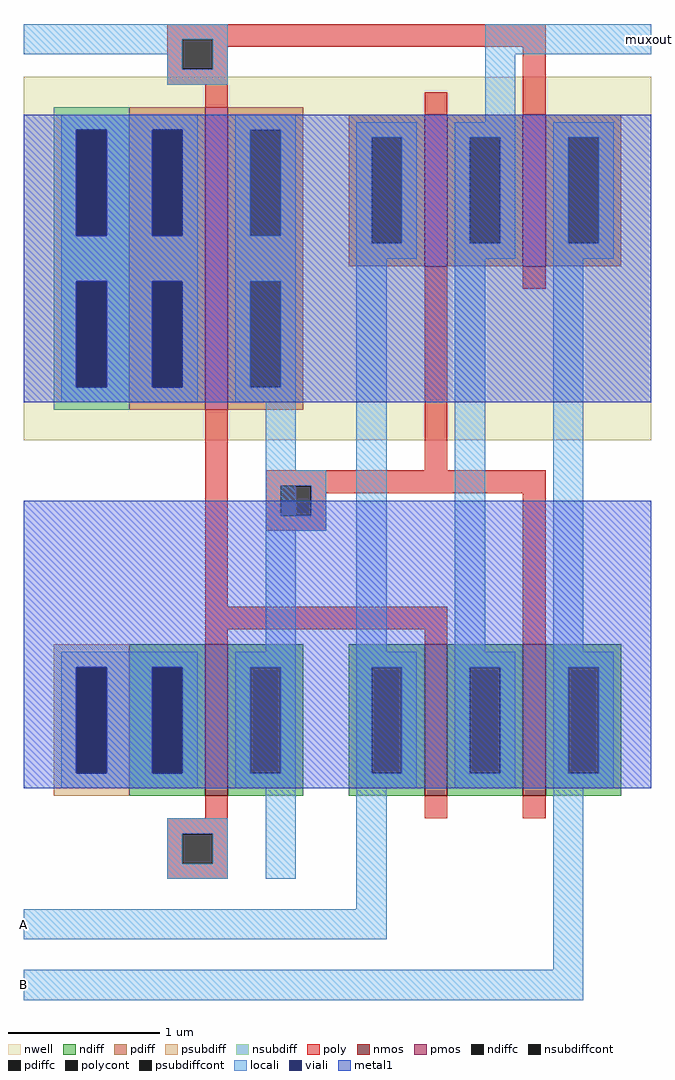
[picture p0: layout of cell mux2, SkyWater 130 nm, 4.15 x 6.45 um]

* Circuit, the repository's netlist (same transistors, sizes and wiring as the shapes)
**.subckt mux2 Y B A S
*.opin Y
*.ipin B
*.ipin A
*.ipin S
XM1 Y net1 A VDD sky130_fd_pr__pfet_01v8 L=0.15 W=1 nf=1 ad='int((nf+1)/2) * W/nf * 0.29' as='int((nf+2)/2) * W/nf * 0.29'
+ pd='2*int((nf+1)/2) * (W/nf + 0.29)' ps='2*int((nf+2)/2) * (W/nf + 0.29)' nrd='0.29 / W' nrs='0.29 / W'
+ sa=0 sb=0 sd=0 mult=1 m=1 
XM2 Y S B VDD sky130_fd_pr__pfet_01v8 L=0.15 W=1 nf=1 ad='int((nf+1)/2) * W/nf * 0.29' as='int((nf+2)/2) * W/nf * 0.29'
+ pd='2*int((nf+1)/2) * (W/nf + 0.29)' ps='2*int((nf+2)/2) * (W/nf + 0.29)' nrd='0.29 / W' nrs='0.29 / W'
+ sa=0 sb=0 sd=0 mult=1 m=1 
XM3 Y net1 B GND sky130_fd_pr__nfet_01v8 L=0.15 W=1 nf=1 ad='int((nf+1)/2) * W/nf * 0.29' as='int((nf+2)/2) * W/nf * 0.29'
+ pd='2*int((nf+1)/2) * (W/nf + 0.29)' ps='2*int((nf+2)/2) * (W/nf + 0.29)' nrd='0.29 / W' nrs='0.29 / W'
+ sa=0 sb=0 sd=0 mult=1 m=1 
XM4 Y S A GND sky130_fd_pr__nfet_01v8 L=0.15 W=1 nf=1 ad='int((nf+1)/2) * W/nf * 0.29' as='int((nf+2)/2) * W/nf * 0.29'
+ pd='2*int((nf+1)/2) * (W/nf + 0.29)' ps='2*int((nf+2)/2) * (W/nf + 0.29)' nrd='0.29 / W' nrs='0.29 / W'
+ sa=0 sb=0 sd=0 mult=1 m=1 
X1 S net1 VDD GND inverter
**.ends

* expanding   symbol:  /home/madvlsi/Documents/MADVLSI-Final_Project/schematic/inverter.sym # of
*+ pins=4

.subckt inverter  A Y VP VN
*.ipin A
*.iopin VP
*.iopin VN
*.opin Y
XM1 Y A VP VP sky130_fd_pr__pfet_01v8 L=0.15 W=2 nf=1 ad='int((nf+1)/2) * W/nf * 0.29' as='int((nf+2)/2) * W/nf * 0.29'
+ pd='2*int((nf+1)/2) * (W/nf + 0.29)' ps='2*int((nf+2)/2) * (W/nf + 0.29)' nrd='0.29 / W' nrs='0.29 / W'
+ sa=0 sb=0 sd=0 mult=1 m=1 
XM2 Y A VN VN sky130_fd_pr__nfet_01v8 L=0.15 W=1 nf=1 ad='int((nf+1)/2) * W/nf * 0.29' as='int((nf+2)/2) * W/nf * 0.29'
+ pd='2*int((nf+1)/2) * (W/nf + 0.29)' ps='2*int((nf+2)/2) * (W/nf + 0.29)' nrd='0.29 / W' nrs='0.29 / W'
+ sa=0 sb=0 sd=0 mult=1 m=1 
.ends

.GLOBAL VDD
.GLOBAL GND
** flattened .save nodes
.end

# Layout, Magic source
magic
tech sky130A
<< nwell >>
rect 205 470 415 490
rect 135 250 415 470
<< nmos >>
rect 265 15 280 115
rect 330 15 345 115
<< pmos >>
rect 265 365 280 465
rect 330 365 345 465
<< ndiff >>
rect 215 100 265 115
rect 215 30 230 100
rect 250 30 265 100
rect 215 15 265 30
rect 280 100 330 115
rect 280 30 295 100
rect 315 30 330 100
rect 280 15 330 30
rect 345 100 395 115
rect 345 30 360 100
rect 380 30 395 100
rect 345 15 395 30
<< pdiff >>
rect 215 450 265 465
rect 215 380 230 450
rect 250 380 265 450
rect 215 365 265 380
rect 280 450 330 465
rect 280 380 295 450
rect 315 380 330 450
rect 280 365 330 380
rect 345 450 395 465
rect 345 380 360 450
rect 380 380 395 450
rect 345 365 395 380
<< ndiffc >>
rect 230 30 250 100
rect 295 30 315 100
rect 360 30 380 100
<< pdiffc >>
rect 230 380 250 450
rect 295 380 315 450
rect 360 380 380 450
<< poly >>
rect 95 515 345 525
rect 95 495 105 515
rect 125 510 345 515
rect 125 495 135 510
rect 95 485 135 495
rect 265 465 280 480
rect 330 465 345 510
rect 265 230 280 365
rect 330 350 345 365
rect 160 220 345 230
rect 160 200 170 220
rect 190 215 345 220
rect 190 200 200 215
rect 160 190 200 200
rect 120 125 280 140
rect 265 115 280 125
rect 330 115 345 215
rect 265 0 280 15
rect 330 0 345 15
<< polycont >>
rect 105 495 125 515
rect 170 200 190 220
<< locali >>
rect 0 515 135 525
rect 0 505 105 515
rect 95 495 105 505
rect 125 495 135 515
rect 95 485 135 495
rect 305 505 415 525
rect 305 460 325 505
rect 220 450 260 460
rect 220 380 230 450
rect 250 380 260 450
rect 220 370 260 380
rect 285 450 325 460
rect 285 380 295 450
rect 315 380 325 450
rect 285 370 325 380
rect 350 450 390 460
rect 350 380 360 450
rect 380 380 390 450
rect 350 370 390 380
rect 160 220 200 230
rect 160 200 170 220
rect 190 200 200 220
rect 160 190 200 200
rect 220 110 240 370
rect 285 110 305 370
rect 350 110 370 370
rect 220 100 260 110
rect 220 30 230 100
rect 250 30 260 100
rect 220 20 260 30
rect 285 100 325 110
rect 285 30 295 100
rect 315 30 325 100
rect 285 20 325 30
rect 350 100 390 110
rect 350 30 360 100
rect 380 30 390 100
rect 350 20 390 30
rect 220 -60 240 20
rect 0 -80 240 -60
rect 350 -100 370 20
rect 0 -120 370 -100
<< metal1 >>
rect 205 275 415 465
rect 205 20 415 210
use inverter  inverter_0
transform 1 0 120 0 1 -120
box -120 80 85 610
<< labels >>
rlabel locali 0 -70 0 -70 7 A
rlabel locali 0 -110 0 -110 7 B
rlabel locali 415 515 415 515 3 muxout
<< end >>

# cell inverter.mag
magic
tech sky130A
<< nwell >>
rect -120 370 85 610
<< nmos >>
rect 0 135 15 235
<< pmos >>
rect 0 390 15 590
<< ndiff >>
rect -50 220 0 235
rect -50 150 -35 220
rect -15 150 0 220
rect -50 135 0 150
rect 15 220 65 235
rect 15 150 30 220
rect 50 150 65 220
rect 15 135 65 150
<< pdiff >>
rect -50 575 0 590
rect -50 505 -35 575
rect -15 505 0 575
rect -50 475 0 505
rect -50 405 -35 475
rect -15 405 0 475
rect -50 390 0 405
rect 15 575 65 590
rect 15 505 30 575
rect 50 505 65 575
rect 15 475 65 505
rect 15 405 30 475
rect 50 405 65 475
rect 15 390 65 405
<< ndiffc >>
rect -35 150 -15 220
rect 30 150 50 220
<< pdiffc >>
rect -35 505 -15 575
rect -35 405 -15 475
rect 30 505 50 575
rect 30 405 50 475
<< psubdiff >>
rect -100 220 -50 235
rect -100 150 -85 220
rect -65 150 -50 220
rect -100 135 -50 150
<< nsubdiff >>
rect -100 575 -50 590
rect -100 505 -85 575
rect -65 505 -50 575
rect -100 475 -50 505
rect -100 405 -85 475
rect -65 405 -50 475
rect -100 390 -50 405
<< psubdiffcont >>
rect -85 150 -65 220
<< nsubdiffcont >>
rect -85 505 -65 575
rect -85 405 -65 475
<< poly >>
rect 0 590 15 605
rect 0 235 15 390
rect 0 120 15 135
rect -25 110 15 120
rect -25 90 -15 110
rect 5 90 15 110
rect -25 80 15 90
<< polycont >>
rect -15 90 5 110
<< locali >>
rect -95 575 -5 585
rect -95 505 -85 575
rect -65 505 -35 575
rect -15 505 -5 575
rect -95 475 -5 505
rect -95 405 -85 475
rect -65 405 -35 475
rect -15 405 -5 475
rect -95 395 -5 405
rect 20 575 60 585
rect 20 505 30 575
rect 50 505 60 575
rect 20 475 60 505
rect 20 405 30 475
rect 50 405 60 475
rect 20 395 60 405
rect 40 230 60 395
rect -95 220 -5 230
rect -95 150 -85 220
rect -65 150 -35 220
rect -15 150 -5 220
rect -95 140 -5 150
rect 20 220 60 230
rect 20 150 30 220
rect 50 150 60 220
rect 20 140 60 150
rect -25 110 15 120
rect -25 90 -15 110
rect 5 90 15 110
rect -25 80 15 90
rect 40 80 60 140
<< viali >>
rect -85 505 -65 575
rect -35 505 -15 575
rect -85 405 -65 475
rect -35 405 -15 475
rect -85 150 -65 220
rect -35 150 -15 220
<< metal1 >>
rect -120 575 85 585
rect -120 505 -85 575
rect -65 505 -35 575
rect -15 505 85 575
rect -120 475 85 505
rect -120 405 -85 475
rect -65 405 -35 475
rect -15 405 85 475
rect -120 395 85 405
rect -120 220 85 330
rect -120 150 -85 220
rect -65 150 -35 220
rect -15 150 85 220
rect -120 140 85 150
<< labels >>
rlabel metal1 -120 235 -120 235 7 VN
port 4 w
rlabel locali -25 100 -25 100 7 A
port 1 w
rlabel locali 60 90 60 90 3 Y
port 2 e
rlabel metal1 -120 490 -120 490 7 VP
port 3 w
<< end >>
